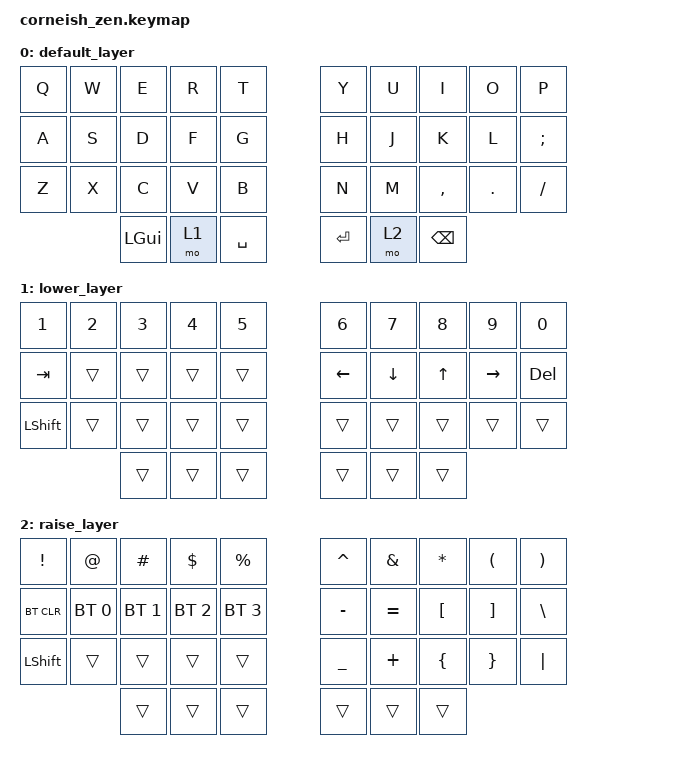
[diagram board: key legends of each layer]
#include <behaviors.dtsi>
#include <dt-bindings/zmk/keys.h>
#include <dt-bindings/zmk/bt.h>

/* Указываем ZMK использовать 5-колоночную матрицу (36 клавиш) */
/ {
    chosen {
        zmk,physical-layout = &foostan_corne_5col_layout;
    };
};

/ {
    keymap {
        compatible = "zmk,keymap";

        default_layer {
            // Базовый QWERTY слой
            bindings = <
                &kp Q &kp W &kp E &kp R &kp T         &kp Y &kp U &kp I &kp O &kp P
                &kp A &kp S &kp D &kp F &kp G         &kp H &kp J &kp K &kp L &kp SEMI
                &kp Z &kp X &kp C &kp V &kp B         &kp N &kp M &kp COMMA &kp DOT &kp FSLH
                        &kp LGUI &mo 1 &kp SPACE      &kp RET &mo 2 &kp BSPC
            >;
        };

        lower_layer {
            // Цифры и навигация (включается левым большим пальцем)
            bindings = <
                &kp N1 &kp N2 &kp N3 &kp N4 &kp N5    &kp N6 &kp N7 &kp N8 &kp N9 &kp N0
                &kp TAB &trans &trans &trans &trans   &kp LEFT &kp DOWN &kp UP &kp RIGHT &kp DEL
                &kp LSHFT &trans &trans &trans &trans &trans &trans &trans &trans &trans
                        &trans &trans &trans          &trans &trans &trans
            >;
        };

        raise_layer {
            // Символы и Bluetooth (включается правым большим пальцем)
            bindings = <
                &kp EXCL &kp AT &kp HASH &kp DLLR &kp PRCNT      &kp CARET &kp AMPS &kp ASTRK &kp LPAR &kp RPAR
                &bt BT_CLR &bt BT_SEL 0 &bt BT_SEL 1 &bt BT_SEL 2 &bt BT_SEL 3   &kp MINUS &kp EQUAL &kp LBKT &kp RBKT &kp BSLH
                &kp LSHFT &trans &trans &trans &trans            &kp UNDER &kp PLUS &kp LBRC &kp RBRC &kp PIPE
                                 &trans &trans &trans            &trans &trans &trans
            >;
        };
    };
};
